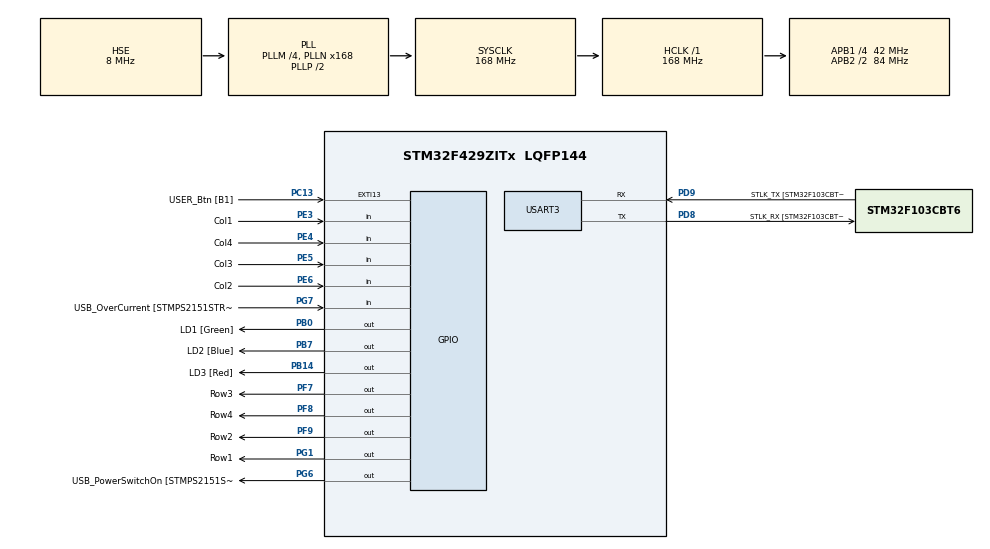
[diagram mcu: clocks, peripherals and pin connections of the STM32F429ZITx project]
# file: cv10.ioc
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Mcu.Family=STM32F4
Mcu.Name=STM32F429ZITx
Mcu.Package=LQFP144
NVIC.PriorityGroup=NVIC_PRIORITYGROUP_4
NVIC.TIM3_IRQn=true\:0\:0\:false\:false\:true\:true\:true\:true
PA1.GPIO_Label=RMII_REF_CLK [LAN8742A-CZ-TR_REFCLK0]
PA1.Signal=ETH_REF_CLK
PA10.GPIO_Label=USB_ID
PA10.Signal=USB_OTG_FS_ID
PA11.GPIO_Label=USB_DM
PA11.Signal=USB_OTG_FS_DM
PA12.GPIO_Label=USB_DP
PA12.Signal=USB_OTG_FS_DP
PA13.GPIO_Label=TMS
PA13.Mode=Serial_Wire
PA13.Signal=SYS_JTMS-SWDIO
PA14.GPIO_Label=TCK
PA14.Mode=Serial_Wire
PA14.Signal=SYS_JTCK-SWCLK
PA2.GPIO_Label=RMII_MDIO [LAN8742A-CZ-TR_MDIO]
PA2.Signal=ETH_MDIO
PA7.GPIO_Label=RMII_CRS_DV [LAN8742A-CZ-TR_CRS_DV]
PA7.Signal=ETH_CRS_DV
PA8.GPIO_Label=USB_SOF [TP1]
PA8.Signal=USB_OTG_FS_SOF
PA9.GPIO_Label=USB_VBUS
PA9.Signal=USB_OTG_FS_VBUS
PB0.GPIO_Label=LD1 [Green]
PB0.GPIO_PuPd=GPIO_PULLUP
PB0.Signal=GPIO_Output
PB13.GPIO_Label=RMII_TXD1 [LAN8742A-CZ-TR_TXD1]
PB13.Signal=ETH_TXD1
PB14.GPIO_Label=LD3 [Red]
PB14.Signal=GPIO_Output
PB7.GPIO_Label=LD2 [Blue]
PB7.Signal=GPIO_Output
PC1.GPIO_Label=RMII_MDC [LAN8742A-CZ-TR_MDC]
PC1.Signal=ETH_MDC
PC13.GPIO_Label=USER_Btn [B1]
PC13.Signal=GPXTI13
PC14/OSC32_IN.Mode=LSE-External-Oscillator
PC14/OSC32_IN.Signal=RCC_OSC32_IN
PC15/OSC32_OUT.Mode=LSE-External-Oscillator
PC15/OSC32_OUT.Signal=RCC_OSC32_OUT
PC4.GPIO_Label=RMII_RXD0 [LAN8742A-CZ-TR_RXD0]
PC4.Signal=ETH_RXD0
PC5.GPIO_Label=RMII_RXD1 [LAN8742A-CZ-TR_RXD1]
PC5.Signal=ETH_RXD1
PD8.GPIO_Label=STLK_RX [STM32F103CBT6_PA3]
PD8.Mode=Asynchronous
PD8.Signal=USART3_TX
PD9.GPIO_Label=STLK_TX [STM32F103CBT6_PA2]
PD9.Mode=Asynchronous
PD9.Signal=USART3_RX
PE3.GPIO_Label=Col1
PE3.GPIO_PuPd=GPIO_PULLUP
PE3.Signal=GPIO_Input
PE4.GPIO_Label=Col4
PE4.GPIO_PuPd=GPIO_PULLUP
PE4.Signal=GPIO_Input
PE5.GPIO_Label=Col3
PE5.GPIO_PuPd=GPIO_PULLUP
PE5.Signal=GPIO_Input
PE6.GPIO_Label=Col2
PE6.GPIO_PuPd=GPIO_PULLUP
PE6.Signal=GPIO_Input
PF7.GPIO_Label=Row3
PF7.GPIO_ModeDefaultOutputPP=GPIO_MODE_OUTPUT_OD
PF7.GPIO_PuPd=GPIO_NOPULL
PF7.Signal=GPIO_Output
PF8.GPIO_Label=Row4
PF8.GPIO_ModeDefaultOutputPP=GPIO_MODE_OUTPUT_OD
PF8.GPIO_PuPd=GPIO_NOPULL
PF8.Signal=GPIO_Output
PF9.GPIO_Label=Row2
PF9.GPIO_ModeDefaultOutputPP=GPIO_MODE_OUTPUT_OD
PF9.GPIO_PuPd=GPIO_NOPULL
PF9.Signal=GPIO_Output
PG1.GPIO_Label=Row1
PG1.GPIO_ModeDefaultOutputPP=GPIO_MODE_OUTPUT_OD
PG1.GPIO_PuPd=GPIO_NOPULL
PG1.Signal=GPIO_Output
PG11.GPIO_Label=RMII_TX_EN [LAN8742A-CZ-TR_TXEN]
PG11.Signal=ETH_TX_EN
PG13.GPIO_Label=RMII_TXD0 [LAN8742A-CZ-TR_TXD0]
PG13.Signal=ETH_TXD0
PG6.GPIO_Label=USB_PowerSwitchOn [STMPS2151STR_EN]
PG6.Signal=GPIO_Output
PG7.GPIO_Label=USB_OverCurrent [STMPS2151STR_FAULT]
PG7.Signal=GPIO_Input
PH0/OSC_IN.GPIO_Label=MCO [STM32F103CBT6_PA8]
PH0/OSC_IN.Mode=HSE-External-Clock-Source
PH0/OSC_IN.Signal=RCC_OSC_IN
PH1/OSC_OUT.Mode=HSE-External-Clock-Source
PH1/OSC_OUT.Signal=RCC_OSC_OUT
ProjectManager.HeapSize=0x200
ProjectManager.StackSize=0x400
ProjectManager.TargetToolchain=STM32CubeIDE
RCC.48MHZClocksFreq_Value=48000000
RCC.AHBFreq_Value=168000000
RCC.APB1CLKDivider=RCC_HCLK_DIV4
RCC.APB1Freq_Value=42000000
RCC.APB1TimFreq_Value=84000000
RCC.APB2CLKDivider=RCC_HCLK_DIV2
RCC.APB2Freq_Value=84000000
RCC.APB2TimCLKDivider=2
RCC.APB2TimFreq_Value=168000000
RCC.CortexFreq_Value=168000000
RCC.HCLKFreq_Value=168000000
RCC.HSE_VALUE=8000000
RCC.HSI_VALUE=16000000
RCC.PLLM=4
RCC.PLLMUL=RCC_PLL_MUL9
RCC.PLLN=168
RCC.PLLQ=7
RCC.PLLSourceVirtual=RCC_PLLSOURCE_HSE
RCC.PRESCALERUSB=RCC_USBCLKSOURCE_PLL_DIV1_5
RCC.SYSCLKFreq_VALUE=168000000
RCC.SYSCLKSource=RCC_SYSCLKSOURCE_PLLCLK
RCC.SYSCLKSourceVirtual=RCC_SYSCLKSOURCE_PLLCLK
RCC.USBFreq_Value=48000000
RCC.VCOOutputFreq_Value=336000000
TIM3.AutoReloadPreload=TIM_AUTORELOAD_PRELOAD_DISABLE
TIM3.Period=99
TIM3.Prescaler=8399
USART3.VirtualMode=VM_ASYNC
VP_TIM3_VS_ClockSourceINT.Mode=Internal
board=NUCLEO-F429ZI

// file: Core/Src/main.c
/* USER CODE BEGIN Header */
/**
 ******************************************************************************
 * @file           : main.c
 * @brief          : Main program body
 ******************************************************************************
 * @attention
 *
 * Copyright (c) 2023 STMicroelectronics.
 * All rights reserved.
 *
 * This software is licensed under terms that can be found in the LICENSE file
 * in the root directory of this software component.
 * If no LICENSE file comes with this software, it is provided AS-IS.
 *
 ******************************************************************************
 */
/* USER CODE END Header */
#include "main.h"

/* USER CODE BEGIN Includes */
#include <stdio.h>
/* USER CODE END Includes */

/* USER CODE BEGIN PD */
#define LED_ON  1
#define LED_OFF 0
/* USER CODE END PD */

TIM_HandleTypeDef htim3;

UART_HandleTypeDef huart3;

/* USER CODE BEGIN PV */
volatile int8_t key = -1;
static const int8_t pasword[5] = { 7, 9, 3, 2, 12 };
//int8_t key_temp[5] = { 0, 0, 0, 0, 0};
/* USER CODE END PV */

void SystemClock_Config(void);
static void MX_GPIO_Init(void);
static void MX_USART3_UART_Init(void);
static void MX_TIM3_Init(void);

/* USER CODE BEGIN 0 */
int __io_putchar(int ch) {
	ITM_SendChar(ch);
	return 0;
}
/* USER CODE END 0 */

int main(void) {

	/* MCU Configuration--------------------------------------------------------*/

	/* Reset of all peripherals, Initializes the Flash interface and the Systick. */
	HAL_Init();

	/* USER CODE BEGIN Init */
	/* Initialize tcp echo server */

	/* USER CODE END Init */

	/* Configure the system clock */
	SystemClock_Config();

	/* Initialize all configured peripherals */
	MX_GPIO_Init();
	MX_USART3_UART_Init();
	MX_TIM3_Init();

	/* USER CODE BEGIN 2 */
	HAL_TIM_Base_Start_IT(&htim3);
	/* USER CODE END 2 */

	/* Infinite loop */
	/* USER CODE BEGIN WHILE */

	while (1) {
		static uint8_t pressed = 0;
		static uint8_t pressed_correctly = 0;

		if (key != -1) {
			printf("stalcene tlacidlo: %d\n", key);

			// Kod vyhodniceni zamku
			if (pasword[pressed] == key) {
				pressed_correctly++;
			}
			pressed++;

			if (pressed == sizeof(pasword)) {

				if (pressed == pressed_correctly) {

					HAL_GPIO_WritePin(LD1_GPIO_Port, LD1_Pin, LED_ON);

				} else {
					HAL_GPIO_WritePin(LD1_GPIO_Port, LD1_Pin, LED_OFF);
				}
				pressed = 0;
				pressed_correctly = 0;
			}
		HAL_Delay(500);
		key = -1;
		}
	}
	/* USER CODE END WHILE */

}

void SystemClock_Config(void) {
	RCC_OscInitTypeDef RCC_OscInitStruct = { 0 };
	RCC_ClkInitTypeDef RCC_ClkInitStruct = { 0 };

	/** Configure the main internal regulator output voltage
	 */
	__HAL_RCC_PWR_CLK_ENABLE();
	__HAL_PWR_VOLTAGESCALING_CONFIG(PWR_REGULATOR_VOLTAGE_SCALE1);

	/** Initializes the RCC Oscillators according to the specified parameters
	 * in the RCC_OscInitTypeDef structure.
	 */
	RCC_OscInitStruct.OscillatorType = RCC_OSCILLATORTYPE_HSE;
	RCC_OscInitStruct.HSEState = RCC_HSE_BYPASS;
	RCC_OscInitStruct.PLL.PLLState = RCC_PLL_ON;
	RCC_OscInitStruct.PLL.PLLSource = RCC_PLLSOURCE_HSE;
	RCC_OscInitStruct.PLL.PLLM = 4;
	RCC_OscInitStruct.PLL.PLLN = 168;
	RCC_OscInitStruct.PLL.PLLP = RCC_PLLP_DIV2;
	RCC_OscInitStruct.PLL.PLLQ = 7;
	if (HAL_RCC_OscConfig(&RCC_OscInitStruct) != HAL_OK) {
		Error_Handler();
	}

	/** Initializes the CPU, AHB and APB buses clocks
	 */
	RCC_ClkInitStruct.ClockType = RCC_CLOCKTYPE_HCLK | RCC_CLOCKTYPE_SYSCLK
			| RCC_CLOCKTYPE_PCLK1 | RCC_CLOCKTYPE_PCLK2;
	RCC_ClkInitStruct.SYSCLKSource = RCC_SYSCLKSOURCE_PLLCLK;
	RCC_ClkInitStruct.AHBCLKDivider = RCC_SYSCLK_DIV1;
	RCC_ClkInitStruct.APB1CLKDivider = RCC_HCLK_DIV4;
	RCC_ClkInitStruct.APB2CLKDivider = RCC_HCLK_DIV2;

	if (HAL_RCC_ClockConfig(&RCC_ClkInitStruct, FLASH_LATENCY_5) != HAL_OK) {
		Error_Handler();
	}
}

static void MX_TIM3_Init(void) {

	TIM_ClockConfigTypeDef sClockSourceConfig = { 0 };
	TIM_MasterConfigTypeDef sMasterConfig = { 0 };

	htim3.Instance = TIM3;
	htim3.Init.Prescaler = 8399;
	htim3.Init.CounterMode = TIM_COUNTERMODE_UP;
	htim3.Init.Period = 99;
	htim3.Init.ClockDivision = TIM_CLOCKDIVISION_DIV1;
	htim3.Init.AutoReloadPreload = TIM_AUTORELOAD_PRELOAD_DISABLE;
	if (HAL_TIM_Base_Init(&htim3) != HAL_OK) {
		Error_Handler();
	}
	sClockSourceConfig.ClockSource = TIM_CLOCKSOURCE_INTERNAL;
	if (HAL_TIM_ConfigClockSource(&htim3, &sClockSourceConfig) != HAL_OK) {
		Error_Handler();
	}
	sMasterConfig.MasterOutputTrigger = TIM_TRGO_RESET;
	sMasterConfig.MasterSlaveMode = TIM_MASTERSLAVEMODE_DISABLE;
	if (HAL_TIMEx_MasterConfigSynchronization(&htim3, &sMasterConfig)
			!= HAL_OK) {
		Error_Handler();
	}

}

static void MX_USART3_UART_Init(void) {

	huart3.Instance = USART3;
	huart3.Init.BaudRate = 115200;
	huart3.Init.WordLength = UART_WORDLENGTH_8B;
	huart3.Init.StopBits = UART_STOPBITS_1;
	huart3.Init.Parity = UART_PARITY_NONE;
	huart3.Init.Mode = UART_MODE_TX_RX;
	huart3.Init.HwFlowCtl = UART_HWCONTROL_NONE;
	huart3.Init.OverSampling = UART_OVERSAMPLING_16;
	if (HAL_UART_Init(&huart3) != HAL_OK) {
		Error_Handler();
	}

}

static void MX_GPIO_Init(void) {
	GPIO_InitTypeDef GPIO_InitStruct = { 0 };

	/* GPIO Ports Clock Enable */
	__HAL_RCC_GPIOE_CLK_ENABLE();
	__HAL_RCC_GPIOC_CLK_ENABLE();
	__HAL_RCC_GPIOF_CLK_ENABLE();
	__HAL_RCC_GPIOH_CLK_ENABLE();
	__HAL_RCC_GPIOA_CLK_ENABLE();
	__HAL_RCC_GPIOB_CLK_ENABLE();
	__HAL_RCC_GPIOG_CLK_ENABLE();
	__HAL_RCC_GPIOD_CLK_ENABLE();

	/*Configure GPIO pin Output Level */
	HAL_GPIO_WritePin(GPIOF, Row3_Pin | Row4_Pin | Row2_Pin, GPIO_PIN_RESET);

	/*Configure GPIO pin Output Level */
	HAL_GPIO_WritePin(GPIOB, LD1_Pin | LD3_Pin | LD2_Pin, GPIO_PIN_RESET);

	/*Configure GPIO pin Output Level */
	HAL_GPIO_WritePin(GPIOG, Row1_Pin | USB_PowerSwitchOn_Pin, GPIO_PIN_RESET);

	/*Configure GPIO pins : Col1_Pin Col4_Pin Col3_Pin Col2_Pin */
	GPIO_InitStruct.Pin = Col1_Pin | Col4_Pin | Col3_Pin | Col2_Pin;
	GPIO_InitStruct.Mode = GPIO_MODE_INPUT;
	GPIO_InitStruct.Pull = GPIO_PULLUP;
	HAL_GPIO_Init(GPIOE, &GPIO_InitStruct);

	/*Configure GPIO pin : USER_Btn_Pin */
	GPIO_InitStruct.Pin = USER_Btn_Pin;
	GPIO_InitStruct.Mode = GPIO_MODE_IT_RISING;
	GPIO_InitStruct.Pull = GPIO_NOPULL;
	HAL_GPIO_Init(USER_Btn_GPIO_Port, &GPIO_InitStruct);

	/*Configure GPIO pins : Row3_Pin Row4_Pin Row2_Pin */
	GPIO_InitStruct.Pin = Row3_Pin | Row4_Pin | Row2_Pin;
	GPIO_InitStruct.Mode = GPIO_MODE_OUTPUT_OD;
	GPIO_InitStruct.Pull = GPIO_NOPULL;
	GPIO_InitStruct.Speed = GPIO_SPEED_FREQ_LOW;
	HAL_GPIO_Init(GPIOF, &GPIO_InitStruct);

	/*Configure GPIO pins : RMII_MDC_Pin RMII_RXD0_Pin RMII_RXD1_Pin */
	GPIO_InitStruct.Pin = RMII_MDC_Pin | RMII_RXD0_Pin | RMII_RXD1_Pin;
	GPIO_InitStruct.Mode = GPIO_MODE_AF_PP;
	GPIO_InitStruct.Pull = GPIO_NOPULL;
	GPIO_InitStruct.Speed = GPIO_SPEED_FREQ_VERY_HIGH;
	GPIO_InitStruct.Alternate = GPIO_AF11_ETH;
	HAL_GPIO_Init(GPIOC, &GPIO_InitStruct);

	/*Configure GPIO pins : RMII_REF_CLK_Pin RMII_MDIO_Pin RMII_CRS_DV_Pin */
	GPIO_InitStruct.Pin = RMII_REF_CLK_Pin | RMII_MDIO_Pin | RMII_CRS_DV_Pin;
	GPIO_InitStruct.Mode = GPIO_MODE_AF_PP;
	GPIO_InitStruct.Pull = GPIO_NOPULL;
	GPIO_InitStruct.Speed = GPIO_SPEED_FREQ_VERY_HIGH;
	GPIO_InitStruct.Alternate = GPIO_AF11_ETH;
	HAL_GPIO_Init(GPIOA, &GPIO_InitStruct);

	/*Configure GPIO pin : LD1_Pin */
	GPIO_InitStruct.Pin = LD1_Pin;
	GPIO_InitStruct.Mode = GPIO_MODE_OUTPUT_PP;
	GPIO_InitStruct.Pull = GPIO_PULLUP;
	GPIO_InitStruct.Speed = GPIO_SPEED_FREQ_LOW;
	HAL_GPIO_Init(LD1_GPIO_Port, &GPIO_InitStruct);

	/*Configure GPIO pin : Row1_Pin */
	GPIO_InitStruct.Pin = Row1_Pin;
	GPIO_InitStruct.Mode = GPIO_MODE_OUTPUT_OD;
	GPIO_InitStruct.Pull = GPIO_NOPULL;
	GPIO_InitStruct.Speed = GPIO_SPEED_FREQ_LOW;
	HAL_GPIO_Init(Row1_GPIO_Port, &GPIO_InitStruct);

	/*Configure GPIO pin : RMII_TXD1_Pin */
	GPIO_InitStruct.Pin = RMII_TXD1_Pin;
	GPIO_InitStruct.Mode = GPIO_MODE_AF_PP;
	GPIO_InitStruct.Pull = GPIO_NOPULL;
	GPIO_InitStruct.Speed = GPIO_SPEED_FREQ_VERY_HIGH;
	GPIO_InitStruct.Alternate = GPIO_AF11_ETH;
	HAL_GPIO_Init(RMII_TXD1_GPIO_Port, &GPIO_InitStruct);

	/*Configure GPIO pins : LD3_Pin LD2_Pin */
	GPIO_InitStruct.Pin = LD3_Pin | LD2_Pin;
	GPIO_InitStruct.Mode = GPIO_MODE_OUTPUT_PP;
	GPIO_InitStruct.Pull = GPIO_NOPULL;
	GPIO_InitStruct.Speed = GPIO_SPEED_FREQ_LOW;
	HAL_GPIO_Init(GPIOB, &GPIO_InitStruct);

	/*Configure GPIO pin : USB_PowerSwitchOn_Pin */
	GPIO_InitStruct.Pin = USB_PowerSwitchOn_Pin;
	GPIO_InitStruct.Mode = GPIO_MODE_OUTPUT_PP;
	GPIO_InitStruct.Pull = GPIO_NOPULL;
	GPIO_InitStruct.Speed = GPIO_SPEED_FREQ_LOW;
	HAL_GPIO_Init(USB_PowerSwitchOn_GPIO_Port, &GPIO_InitStruct);

	/*Configure GPIO pin : USB_OverCurrent_Pin */
	GPIO_InitStruct.Pin = USB_OverCurrent_Pin;
	GPIO_InitStruct.Mode = GPIO_MODE_INPUT;
	GPIO_InitStruct.Pull = GPIO_NOPULL;
	HAL_GPIO_Init(USB_OverCurrent_GPIO_Port, &GPIO_InitStruct);

	/*Configure GPIO pins : USB_SOF_Pin USB_ID_Pin USB_DM_Pin USB_DP_Pin */
	GPIO_InitStruct.Pin = USB_SOF_Pin | USB_ID_Pin | USB_DM_Pin | USB_DP_Pin;
	GPIO_InitStruct.Mode = GPIO_MODE_AF_PP;
	GPIO_InitStruct.Pull = GPIO_NOPULL;
	GPIO_InitStruct.Speed = GPIO_SPEED_FREQ_VERY_HIGH;
	GPIO_InitStruct.Alternate = GPIO_AF10_OTG_FS;
	HAL_GPIO_Init(GPIOA, &GPIO_InitStruct);

	/*Configure GPIO pin : USB_VBUS_Pin */
	GPIO_InitStruct.Pin = USB_VBUS_Pin;
	GPIO_InitStruct.Mode = GPIO_MODE_INPUT;
	GPIO_InitStruct.Pull = GPIO_NOPULL;
	HAL_GPIO_Init(USB_VBUS_GPIO_Port, &GPIO_InitStruct);

	/*Configure GPIO pins : RMII_TX_EN_Pin RMII_TXD0_Pin */
	GPIO_InitStruct.Pin = RMII_TX_EN_Pin | RMII_TXD0_Pin;
	GPIO_InitStruct.Mode = GPIO_MODE_AF_PP;
	GPIO_InitStruct.Pull = GPIO_NOPULL;
	GPIO_InitStruct.Speed = GPIO_SPEED_FREQ_VERY_HIGH;
	GPIO_InitStruct.Alternate = GPIO_AF11_ETH;
	HAL_GPIO_Init(GPIOG, &GPIO_InitStruct);

}

/* USER CODE BEGIN 4 */
void HAL_TIM_PeriodElapsedCallback(TIM_HandleTypeDef *htim) {
	static int row = 0;
	static const int keyboard[4][4] = { { 1, 2, 3, 21 }, { 4, 5, 6, 22 }, { 7,
			8, 9, 23 }, { 11, 0, 12, 24 }, };
	if (key == -1) {
		if (HAL_GPIO_ReadPin(Col1_GPIO_Port, Col1_Pin) == GPIO_PIN_RESET)
			key = keyboard[row][0];
		if (HAL_GPIO_ReadPin(Col2_GPIO_Port, Col2_Pin) == GPIO_PIN_RESET)
			key = keyboard[row][1];
		if (HAL_GPIO_ReadPin(Col3_GPIO_Port, Col3_Pin) == GPIO_PIN_RESET)
			key = keyboard[row][2];
		if (HAL_GPIO_ReadPin(Col4_GPIO_Port, Col4_Pin) == GPIO_PIN_RESET)
			key = keyboard[row][3];

	}
	HAL_GPIO_WritePin(Row1_GPIO_Port, Row1_Pin, GPIO_PIN_SET);
	HAL_GPIO_WritePin(Row2_GPIO_Port, Row2_Pin, GPIO_PIN_SET);
	HAL_GPIO_WritePin(Row3_GPIO_Port, Row3_Pin, GPIO_PIN_SET);
	HAL_GPIO_WritePin(Row4_GPIO_Port, Row4_Pin, GPIO_PIN_SET);
	switch (row) {
	case 0:
		row = 1;
		HAL_GPIO_WritePin(Row2_GPIO_Port, Row2_Pin, GPIO_PIN_RESET);
		break;
	case 1:
		row = 2;
		HAL_GPIO_WritePin(Row3_GPIO_Port, Row3_Pin, GPIO_PIN_RESET);
		break;
	case 2:
		row = 3;
		HAL_GPIO_WritePin(Row4_GPIO_Port, Row4_Pin, GPIO_PIN_RESET);
		break;
	case 3:
		row = 0;
		HAL_GPIO_WritePin(Row1_GPIO_Port, Row1_Pin, GPIO_PIN_RESET);
		break;

	}
}
/* USER CODE END 4 */

void Error_Handler(void) {
	__disable_irq();
	while (1) {
	}
}
